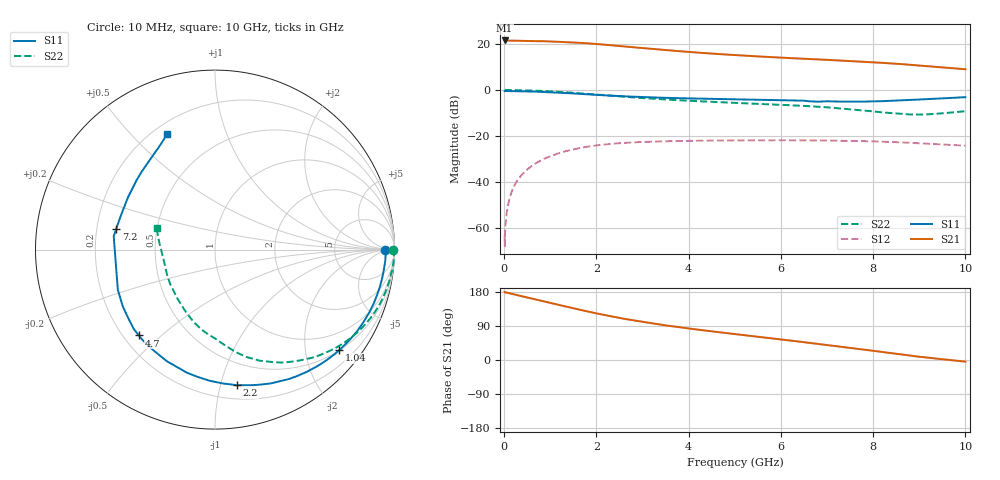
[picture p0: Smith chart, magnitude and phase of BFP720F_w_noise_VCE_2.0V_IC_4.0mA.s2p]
! Infineon Technologies  Discrete & RF Semiconductors
! BFP720F
! VCE =  2.0 V,  IC =  4.0 mA
! Common Emitter S-Parameters:  Jan 2016
# GHz  S  MA  R  50
!  f  S11  S21  S12  S22
! GHz  MAG  ANG  MAG  ANG  MAG  ANG  MAG  ANG
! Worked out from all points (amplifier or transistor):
!   233 points, 10 MHz to 10 GHz, reference 50 ohm
!   highest |S21| = 21.6 dB at 10 MHz (marker M1)
!   |S21| within 3 dB of that: start of sweep to 2.821 GHz
!   unconditionally stable (mu >= 1): 8.29 GHz to end of sweep
!   at 200 MHz: K = 0.03, MSG = 32.0 dB, |S12| = -42.5 dB
!   at 1.74 GHz: K = 0.19, MSG = 22.6 dB, |S12| = -24.9 dB
!   at 10 GHz: K = 1.23, MAG = 13.7 dB, |S12| = -24.2 dB
!   lowest NFmin = 0.41 dB at 450 MHz
!   S11 on the Smith chart (normalised r, x): 10 MHz: 39, -3; 1.04 GHz: 0.51, -2.75; 2.2 GHz: 0.31, -1.13; 4.7 GHz: 0.26, -0.42; 7.2 GHz: 0.28, +0.10; 10 GHz: 0.25, +0.64
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0.01  0.9498 -0.2  11.98 179.6  0.0007 -24.6  0.9915 0.0
0.015  0.9509 -0.5  11.87 178.8  0.0004 40.7  0.9957 -0.6
0.02  0.952 -0.7  11.76 177.9  0.0008 93.3  1 -1.1
0.03  0.9516 -1.1  11.8 178.0  0.0012 91.7  0.9991 -1.2
0.085  0.9507 -3.1  11.9 177.0  0.0032 88.9  0.9977 -2.2
0.26  0.945 -9.6  11.83 171.8  0.0098 83.9  0.9938 -6.7
0.8  0.9131 -29.9  11.59 156.5  0.0294 70.5  0.9589 -20.7
1.04  0.891 -38.9  11.35 149.6  0.0376 64.4  0.9328 -26.9
1.32  0.862 -49.4  11.02 141.6  0.0462 57.5  0.8968 -34.0
1.68  0.8202 -63.2  10.61 131.6  0.0557 49.0  0.8429 -42.9
1.98  0.7867 -73.5  10.08 123.5  0.062 42.3  0.7975 -49.8
2.2  0.7655 -80.7  9.663 118.1  0.0658 37.7  0.7654 -54.4
2.78  0.7172 -97.1  8.552 105.0  0.0723 27.3  0.6899 -64.7
3.4  0.6809 -111.0  7.553 93.3  0.0762 18.6  0.6305 -72.7
4  0.6572 -121.8  6.75 83.0  0.0784 11.7  0.584 -78.3
4.7  0.6392 -131.6  6.016 72.8  0.0797 5.1  0.5419 -83.3
5.1  0.6286 -136.9  5.68 67.0  0.0802 1.6  0.5195 -86.3
6.8  0.5569 -175.4  4.632 42.6  0.0799 -11.9  0.4323 -103.6
7.2  0.562 168.0  4.417 36.6  0.079 -15.0  0.4035 -110.0
8.4  0.5834 138.5  3.791 17.9  0.0741 -24.2  0.3147 -142.5
9  0.6213 125.1  3.414 8.6  0.0693 -28.0  0.2918 -169.3
10  0.6987 112.3  2.831 -4.3  0.0615 -31.0  0.3467 159.9
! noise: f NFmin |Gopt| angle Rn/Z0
0.45  0.41  0.54  3  0.21
0.9  0.44  0.54  10  0.19
1.8  0.49  0.5  21  0.17
2.4  0.53  0.48  29  0.15
5.5  0.73  0.4  74  0.1
10  1.03  0.26  -115  0.14
